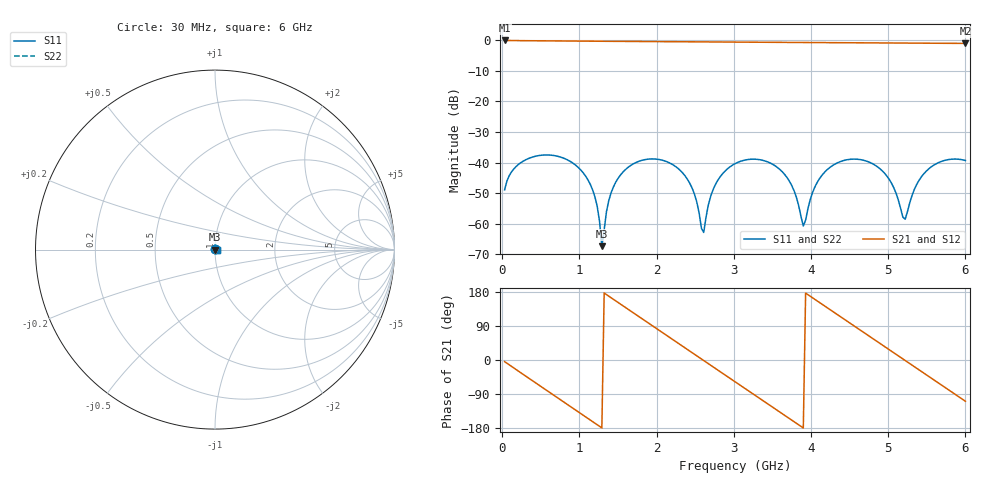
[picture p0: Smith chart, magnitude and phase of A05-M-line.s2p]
! yapnr Order 0 O0-M: O0-M A05 M dL70 (line, family M)
! stackup OSHPARK-4L-FR408HR, nominal parameters; geometry of the OSHPARK-4L-FR408HR design
! model: 2D quasi-static RLGC (Djordjevic-Sarkar, Huray roughness, Wheeler loss); generated by python -m yapnr.rf.coupons expected --stackup OSHPARK-4L-FR408HR --upload M
! reference planes 10 mm from each end; 50 ohm (from the M line's Zc)
# GHz S DB R 50
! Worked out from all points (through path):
!   200 points, 30 MHz to 6 GHz, reference 50 ohm
!   highest |S21| = -0.03 dB at 30 MHz (marker M1); lowest = -1.0 dB at 6 GHz (marker M2)
!   group delay of S21, straight-line fit = 383 ps
!   lowest |S11| = -67.4 dB at 1.29 GHz (marker M3), VSWR 1.00, Z = 50 - j0.0253 ohm
!   |S11| at or under -10 dB: start of sweep to end of sweep
!   |S22| runs from -67.4 to -37.5 dB; largest |S21 - S12| = 0
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0.03  -48.93 39.3  -0.03 -4.3  -0.03 -4.3  -48.93 39.3
0.21  -40.61 24.4  -0.08 -29.5  -0.08 -29.5  -40.61 24.4
0.57  -37.51 -14.1  -0.16 -79.5  -0.16 -79.5  -37.51 -14.1
1.05  -43.41 -70.3  -0.25 -146.0  -0.25 -146.0  -43.41 -70.3
1.2  -51.22 -84.2  -0.28 -166.8  -0.28 -166.8  -51.22 -84.2
1.29  -67.37 -36.2  -0.29 -179.2  -0.29 -179.2  -67.37 -36.2
1.38  -52.40 55.2  -0.31 168.4  -0.31 168.4  -52.40 55.2
1.5  -45.16 45.3  -0.33 151.8  -0.33 151.8  -45.16 45.3
2.04  -39.04 -21.4  -0.41 77.2  -0.41 77.2  -39.04 -21.4
2.4  -45.52 -64.2  -0.47 27.5  -0.47 27.5  -45.52 -64.2
2.61  -62.88 15.3  -0.50 -1.4  -0.50 -1.4  -62.88 15.3
2.76  -47.26 53.1  -0.53 -22.1  -0.53 -22.1  -47.26 53.1
3.03  -40.18 22.9  -0.57 -59.4  -0.57 -59.4  -40.18 22.9
3.6  -42.34 -47.4  -0.65 -138.0  -0.65 -138.0  -42.34 -47.4
3.78  -49.20 -62.5  -0.68 -162.8  -0.68 -162.8  -49.20 -62.5
3.9  -60.75 -11.1  -0.69 -179.3  -0.69 -179.3  -60.75 -11.1
4.02  -49.79 54.8  -0.71 164.1  -0.71 164.1  -49.79 54.8
4.53  -38.89 1.0  -0.79 93.8  -0.79 93.8  -38.89 1.0
5.01  -45.38 -53.6  -0.85 27.6  -0.85 27.6  -45.38 -53.6
5.22  -58.53 9.8  -0.88 -1.3  -0.88 -1.3  -58.53 9.8
5.49  -42.89 42.7  -0.92 -38.5  -0.92 -38.5  -42.89 42.7
6  -39.32 -17.3  -0.99 -108.8  -0.99 -108.8  -39.32 -17.3
